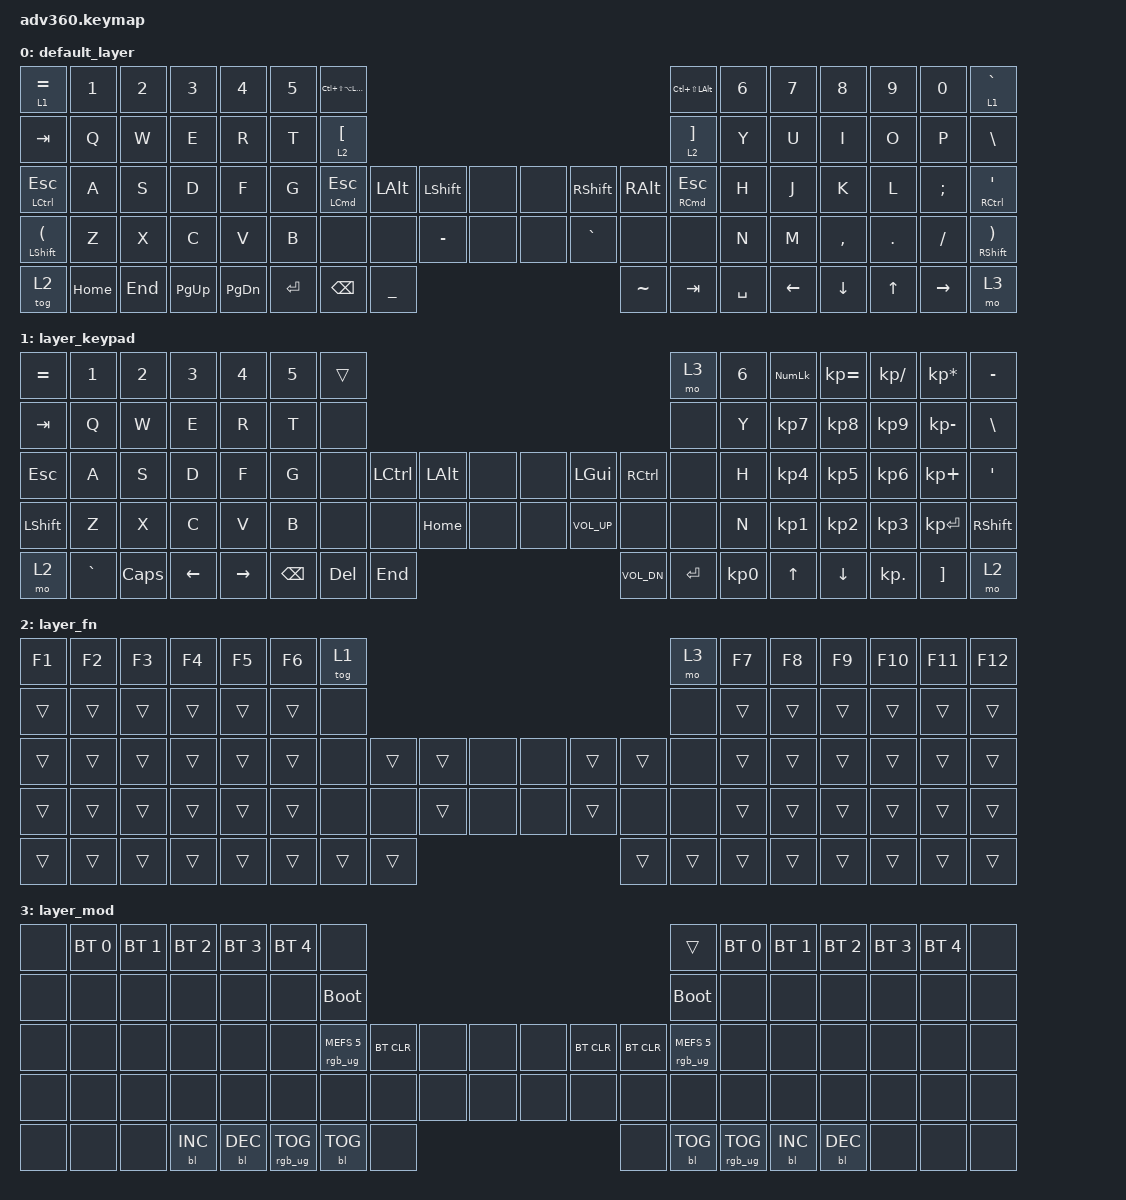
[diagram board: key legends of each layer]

/*
 * Copyright (c) 2020 The ZMK Contributors
 *
 * SPDX-License-Identifier: MIT
 */


/* THIS FILE WAS GENERATED!
 *
 * This file was generated automatically. You may or may not want to
 * edit it directly.
 */

#include <behaviors.dtsi>
#include <dt-bindings/zmk/keys.h>
#include <dt-bindings/zmk/bt.h>
#include <dt-bindings/zmk/rgb.h>
#include <dt-bindings/zmk/backlight.h>

/ {
  behaviors {
    #include "macros.dtsi"

    hm: homerow_mods {
        compatible = "zmk,behavior-hold-tap";
        label = "HOMEROW_MODS";
        #binding-cells = <2>;
        tapping-term-ms = <175>;
        quick_tap_ms = <175>;
        flavor = "tap-preferred";
        bindings = <&kp>, <&kp>;
    };
  };

    keymap {
        compatible = "zmk,keymap";


        default_layer {
            bindings = <
                 &lt 1 EQUAL     &kp N1    &kp N2     &kp N3     &kp N4  &kp N5    &kp LC(LS(LA(LGUI)))                                                                      &kp LC(LS(LALT))   &kp N6    &kp N7     &kp N8   &kp N9     &kp N0                   &lt 1 GRAVE
                     &kp TAB      &kp Q     &kp W      &kp E      &kp R   &kp T              &lt 2 LBKT                                                                            &lt 2 RBKT   &kp Y     &kp U      &kp I    &kp O      &kp P                      &kp BSLH
               &mt LCTRL ESC      &kp A     &kp S      &kp D      &kp F   &kp G            &mt LCMD ESC  &kp LEFT_ALT  &kp LSHIFT   &none   &none  &kp RSHIFT  &kp RIGHT_ALT     &mt RCMD ESC   &kp H     &kp J      &kp K    &kp L   &kp SEMI        &mt RCTRL SINGLE_QUOTE
 &mt LSHIFT LEFT_PARENTHESIS      &kp Z     &kp X      &kp C      &kp V   &kp B                   &none         &none   &kp MINUS   &none   &none   &kp GRAVE          &none            &none   &kp N     &kp M  &kp COMMA  &kp DOT   &kp FSLH  &mt RSHIFT RIGHT_PARENTHESIS
                      &tog 2  &kp HOME  &kp END  &kp PG_UP  &kp PG_DN                         &kp ENTER      &kp BSPC   &kp UNDERSCORE              &kp TILDE        &kp TAB        &kp SPACE          &kp LEFT   &kp DOWN   &kp UP  &kp RIGHT                         &mo 3
            >;
        };

        layer_keypad {
            bindings = <
 &kp EQUAL     &kp N1    &kp N2    &kp N3     &kp N4  &kp N5              &trans                                                                 &mo 3  &kp N6  &kp KP_NUM  &kp KP_EQUAL  &kp KP_DIVIDE  &kp KP_MULTIPLY  &kp MINUS
   &kp TAB      &kp Q     &kp W     &kp E      &kp R   &kp T               &none                                                                 &none   &kp Y   &kp KP_N7     &kp KP_N8      &kp KP_N9     &kp KP_MINUS   &kp BSLH
   &kp ESC      &kp A     &kp S     &kp D      &kp F   &kp G               &none  &kp LCTRL  &kp LALT   &none   &none  &kp LGUI      &kp RCTRL      &none   &kp H   &kp KP_N4     &kp KP_N5      &kp KP_N6      &kp KP_PLUS    &kp SQT
 &kp LSHFT      &kp Z     &kp X     &kp C      &kp V   &kp B               &none      &none  &kp HOME   &none   &none  &kp C_VOL_UP      &none      &none   &kp N   &kp KP_N1     &kp KP_N2      &kp KP_N3     &kp KP_ENTER  &kp RSHFT
     &mo 2  &kp GRAVE  &kp CAPS  &kp LEFT  &kp RIGHT                    &kp BSPC    &kp DEL   &kp END                  &kp C_VOL_DN  &kp ENTER  &kp KP_N0              &kp UP      &kp DOWN     &kp KP_DOT         &kp RBKT      &mo 2
            >;
        };

        layer_fn {
            bindings = <
 &kp F1  &kp F2  &kp F3  &kp F4  &kp F5  &kp F6            &tog 1                                                   &mo 3  &kp F7  &kp F8  &kp F9  &kp F10  &kp F11  &kp F12
 &trans  &trans  &trans  &trans  &trans  &trans             &none                                                   &none  &trans  &trans  &trans   &trans   &trans   &trans
 &trans  &trans  &trans  &trans  &trans  &trans             &none  &trans  &trans   &none   &none  &trans  &trans   &none  &trans  &trans  &trans   &trans   &trans   &trans
 &trans  &trans  &trans  &trans  &trans  &trans             &none   &none  &trans   &none   &none  &trans   &none   &none  &trans  &trans  &trans   &trans   &trans   &trans
 &trans  &trans  &trans  &trans  &trans                    &trans  &trans  &trans                  &trans  &trans  &trans          &trans  &trans   &trans   &trans   &trans
            >;
        };

        layer_mod {
            bindings = <
  &none  &bt BT_SEL 0  &bt BT_SEL 1  &bt BT_SEL 2  &bt BT_SEL 3  &bt BT_SEL 4                             &none                                                                              &trans  &bt BT_SEL 0  &bt BT_SEL 1  &bt BT_SEL 2  &bt BT_SEL 3  &bt BT_SEL 4   &none
  &none         &none         &none         &none         &none         &none                       &bootloader                                                                         &bootloader         &none         &none         &none         &none         &none   &none
  &none         &none         &none         &none         &none         &none            &rgb_ug RGB_MEFS_CMD 5  &bt BT_CLR   &none   &none   &none  &bt BT_CLR  &bt BT_CLR  &rgb_ug RGB_MEFS_CMD 5         &none         &none         &none         &none         &none   &none
  &none         &none         &none         &none         &none         &none                             &none       &none   &none   &none   &none       &none       &none                   &none         &none         &none         &none         &none         &none   &none
  &none         &none         &none    &bl BL_INC    &bl BL_DEC                                 &rgb_ug RGB_TOG  &bl BL_TOG   &none                       &none  &bl BL_TOG         &rgb_ug RGB_TOG                  &bl BL_INC    &bl BL_DEC         &none         &none   &none
            >;
        };

    };
};
